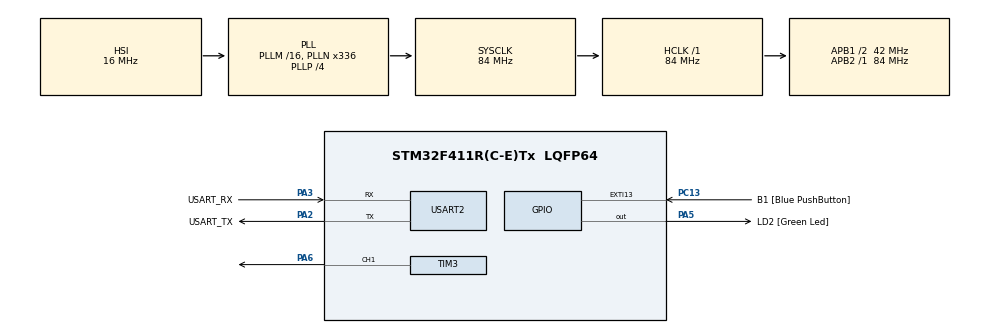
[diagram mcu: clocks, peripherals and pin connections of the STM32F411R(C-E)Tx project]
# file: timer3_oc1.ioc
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Mcu.Family=STM32F4
Mcu.Name=STM32F411R(C-E)Tx
Mcu.Package=LQFP64
NVIC.PriorityGroup=NVIC_PRIORITYGROUP_0
NVIC.TIM3_IRQn=true\:0\:0\:false\:false\:true\:true\:true\:true
PA13.GPIO_Label=TMS
PA13.Mode=Serial_Wire
PA13.Signal=SYS_JTMS-SWDIO
PA14.GPIO_Label=TCK
PA14.Mode=Serial_Wire
PA14.Signal=SYS_JTCK-SWCLK
PA2.GPIO_Label=USART_TX
PA2.Mode=Asynchronous
PA2.Signal=USART2_TX
PA3.GPIO_Label=USART_RX
PA3.Mode=Asynchronous
PA3.Signal=USART2_RX
PA5.GPIO_Label=LD2 [Green Led]
PA5.Signal=GPIO_Output
PA6.Signal=S_TIM3_CH1
PB3.GPIO_Label=SWO
PB3.Signal=SYS_JTDO-SWO
PC13-ANTI_TAMP.GPIO_Label=B1 [Blue PushButton]
PC13-ANTI_TAMP.GPIO_ModeDefaultEXTI=GPIO_MODE_IT_FALLING
PC13-ANTI_TAMP.Signal=GPXTI13
PC14-OSC32_IN.Signal=RCC_OSC32_IN
PC15-OSC32_OUT.Signal=RCC_OSC32_OUT
PH0\ -\ OSC_IN.Signal=RCC_OSC_IN
PH1\ -\ OSC_OUT.Signal=RCC_OSC_OUT
ProjectManager.HeapSize=0x200
ProjectManager.StackSize=0x400
ProjectManager.TargetToolchain=STM32CubeIDE
RCC.48MHZClocksFreq_Value=84000000
RCC.AHBFreq_Value=84000000
RCC.APB1CLKDivider=RCC_HCLK_DIV2
RCC.APB1Freq_Value=42000000
RCC.APB1TimFreq_Value=84000000
RCC.APB2Freq_Value=84000000
RCC.APB2TimFreq_Value=84000000
RCC.CortexFreq_Value=84000000
RCC.FLatency-AdvancedSettings=FLASH_LATENCY_2
RCC.HCLKFreq_Value=84000000
RCC.HSE_VALUE=8000000
RCC.HSI_VALUE=16000000
RCC.LSE_VALUE=32768
RCC.PLLN=336
RCC.PLLP=RCC_PLLP_DIV4
RCC.SYSCLKFreq_VALUE=84000000
RCC.SYSCLKSource=RCC_SYSCLKSOURCE_PLLCLK
RCC.VCOOutputFreq_Value=336000000
SH.S_TIM3_CH1.0=TIM3_CH1,Output Compare1 CH1
TIM3.AutoReloadPreload=TIM_AUTORELOAD_PRELOAD_ENABLE
TIM3.Channel-Output\ Compare1\ CH1=TIM_CHANNEL_1
TIM3.OCMode_1=TIM_OCMODE_TOGGLE
TIM3.Period=10000-1
TIM3.Prescaler=8400-1
TIM3.Pulse-Output\ Compare1\ CH1=5000-1
USART2.VirtualMode=VM_ASYNC
VP_TIM3_VS_ClockSourceINT.Mode=Internal
board=NUCLEO-F411RE

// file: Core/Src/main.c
/* USER CODE BEGIN Header */
/**
  ******************************************************************************
  * @file           : main.c
  * @brief          : Main program body
  ******************************************************************************
  * @attention
  *
  * Copyright (c) 2025 STMicroelectronics.
  * All rights reserved.
  *
  * This software is licensed under terms that can be found in the LICENSE file
  * in the root directory of this software component.
  * If no LICENSE file comes with this software, it is provided AS-IS.
  *
  ******************************************************************************
  */
/* USER CODE END Header */
#include "main.h"

/* USER CODE BEGIN PD */
#ifdef __GNUC__
/* With GCC, small printf (option LD Linker->Libraries->Small printf
   set to 'Yes') calls __io_putchar() */
#define PUTCHAR_PROTOTYPE int __io_putchar(int ch)
#else
#define PUTCHAR_PROTOTYPE int fputc(int ch, FILE *f)
#endif /* __GNUC__ */
/* USER CODE END PD */

TIM_HandleTypeDef htim3;

UART_HandleTypeDef huart2;

/* USER CODE BEGIN PV */
volatile unsigned int time3SecCnt = 0;
volatile int time3SecFlag = 0;
volatile unsigned int time3Cnt = 0;
/* USER CODE END PV */

void SystemClock_Config(void);
static void MX_GPIO_Init(void);
static void MX_USART2_UART_Init(void);
static void MX_TIM3_Init(void);

int main(void)
{

  /* MCU Configuration--------------------------------------------------------*/

  /* Reset of all peripherals, Initializes the Flash interface and the Systick. */
  HAL_Init();

  /* Configure the system clock */
  SystemClock_Config();

  /* Initialize all configured peripherals */
  MX_GPIO_Init();
  MX_USART2_UART_Init();
  MX_TIM3_Init();
  /* USER CODE BEGIN 2 */
  printf("start main()!\r\n");
  if(HAL_TIM_Base_Start_IT(&htim3) != HAL_OK)
	  Error_Handler();
  if(HAL_TIM_OC_Start_IT(&htim3, TIM_CHANNEL_1) != HAL_OK)
	  Error_Handler();
  /* USER CODE END 2 */

  /* Infinite loop */
  /* USER CODE BEGIN WHILE */
  while (1)
  {
	  if(time3SecFlag)
	  {
		  time3SecFlag = 0;
		  printf("time3SecCnt : %d\r\n", time3SecCnt);
	  }
    /* USER CODE END WHILE */

  }
}

void SystemClock_Config(void)
{
  RCC_OscInitTypeDef RCC_OscInitStruct = {0};
  RCC_ClkInitTypeDef RCC_ClkInitStruct = {0};

  /** Configure the main internal regulator output voltage
  */
  __HAL_RCC_PWR_CLK_ENABLE();
  __HAL_PWR_VOLTAGESCALING_CONFIG(PWR_REGULATOR_VOLTAGE_SCALE1);

  /** Initializes the RCC Oscillators according to the specified parameters
  * in the RCC_OscInitTypeDef structure.
  */
  RCC_OscInitStruct.OscillatorType = RCC_OSCILLATORTYPE_HSI;
  RCC_OscInitStruct.HSIState = RCC_HSI_ON;
  RCC_OscInitStruct.HSICalibrationValue = RCC_HSICALIBRATION_DEFAULT;
  RCC_OscInitStruct.PLL.PLLState = RCC_PLL_ON;
  RCC_OscInitStruct.PLL.PLLSource = RCC_PLLSOURCE_HSI;
  RCC_OscInitStruct.PLL.PLLM = 16;
  RCC_OscInitStruct.PLL.PLLN = 336;
  RCC_OscInitStruct.PLL.PLLP = RCC_PLLP_DIV4;
  RCC_OscInitStruct.PLL.PLLQ = 4;
  if (HAL_RCC_OscConfig(&RCC_OscInitStruct) != HAL_OK)
  {
    Error_Handler();
  }

  /** Initializes the CPU, AHB and APB buses clocks
  */
  RCC_ClkInitStruct.ClockType = RCC_CLOCKTYPE_HCLK|RCC_CLOCKTYPE_SYSCLK
                              |RCC_CLOCKTYPE_PCLK1|RCC_CLOCKTYPE_PCLK2;
  RCC_ClkInitStruct.SYSCLKSource = RCC_SYSCLKSOURCE_PLLCLK;
  RCC_ClkInitStruct.AHBCLKDivider = RCC_SYSCLK_DIV1;
  RCC_ClkInitStruct.APB1CLKDivider = RCC_HCLK_DIV2;
  RCC_ClkInitStruct.APB2CLKDivider = RCC_HCLK_DIV1;

  if (HAL_RCC_ClockConfig(&RCC_ClkInitStruct, FLASH_LATENCY_2) != HAL_OK)
  {
    Error_Handler();
  }
}

static void MX_TIM3_Init(void)
{

  TIM_ClockConfigTypeDef sClockSourceConfig = {0};
  TIM_MasterConfigTypeDef sMasterConfig = {0};
  TIM_OC_InitTypeDef sConfigOC = {0};

  htim3.Instance = TIM3;
  htim3.Init.Prescaler = 8400-1;
  htim3.Init.CounterMode = TIM_COUNTERMODE_UP;
  htim3.Init.Period = 10000-1;
  htim3.Init.ClockDivision = TIM_CLOCKDIVISION_DIV1;
  htim3.Init.AutoReloadPreload = TIM_AUTORELOAD_PRELOAD_ENABLE;
  if (HAL_TIM_Base_Init(&htim3) != HAL_OK)
  {
    Error_Handler();
  }
  sClockSourceConfig.ClockSource = TIM_CLOCKSOURCE_INTERNAL;
  if (HAL_TIM_ConfigClockSource(&htim3, &sClockSourceConfig) != HAL_OK)
  {
    Error_Handler();
  }
  if (HAL_TIM_OC_Init(&htim3) != HAL_OK)
  {
    Error_Handler();
  }
  sMasterConfig.MasterOutputTrigger = TIM_TRGO_RESET;
  sMasterConfig.MasterSlaveMode = TIM_MASTERSLAVEMODE_DISABLE;
  if (HAL_TIMEx_MasterConfigSynchronization(&htim3, &sMasterConfig) != HAL_OK)
  {
    Error_Handler();
  }
  sConfigOC.OCMode = TIM_OCMODE_TOGGLE;
  sConfigOC.Pulse = 5000-1;
  sConfigOC.OCPolarity = TIM_OCPOLARITY_HIGH;
  sConfigOC.OCFastMode = TIM_OCFAST_DISABLE;
  if (HAL_TIM_OC_ConfigChannel(&htim3, &sConfigOC, TIM_CHANNEL_1) != HAL_OK)
  {
    Error_Handler();
  }
  HAL_TIM_MspPostInit(&htim3);

}

static void MX_USART2_UART_Init(void)
{

  huart2.Instance = USART2;
  huart2.Init.BaudRate = 115200;
  huart2.Init.WordLength = UART_WORDLENGTH_8B;
  huart2.Init.StopBits = UART_STOPBITS_1;
  huart2.Init.Parity = UART_PARITY_NONE;
  huart2.Init.Mode = UART_MODE_TX_RX;
  huart2.Init.HwFlowCtl = UART_HWCONTROL_NONE;
  huart2.Init.OverSampling = UART_OVERSAMPLING_16;
  if (HAL_UART_Init(&huart2) != HAL_OK)
  {
    Error_Handler();
  }

}

static void MX_GPIO_Init(void)
{
  GPIO_InitTypeDef GPIO_InitStruct = {0};

  /* GPIO Ports Clock Enable */
  __HAL_RCC_GPIOC_CLK_ENABLE();
  __HAL_RCC_GPIOH_CLK_ENABLE();
  __HAL_RCC_GPIOA_CLK_ENABLE();
  __HAL_RCC_GPIOB_CLK_ENABLE();

  /*Configure GPIO pin Output Level */
  HAL_GPIO_WritePin(LD2_GPIO_Port, LD2_Pin, GPIO_PIN_RESET);

  /*Configure GPIO pin : B1_Pin */
  GPIO_InitStruct.Pin = B1_Pin;
  GPIO_InitStruct.Mode = GPIO_MODE_IT_FALLING;
  GPIO_InitStruct.Pull = GPIO_NOPULL;
  HAL_GPIO_Init(B1_GPIO_Port, &GPIO_InitStruct);

  /*Configure GPIO pin : LD2_Pin */
  GPIO_InitStruct.Pin = LD2_Pin;
  GPIO_InitStruct.Mode = GPIO_MODE_OUTPUT_PP;
  GPIO_InitStruct.Pull = GPIO_NOPULL;
  GPIO_InitStruct.Speed = GPIO_SPEED_FREQ_LOW;
  HAL_GPIO_Init(LD2_GPIO_Port, &GPIO_InitStruct);

}

/* USER CODE BEGIN 4 */
void HAL_TIM_PeriodElapsedCallback(TIM_HandleTypeDef * htim)
{
	if(htim -> Instance == TIM3) // timer3
	{
		//HAL_GPIO_TogglePin(LD2_GPIO_Port, LD2_Pin);
		time3SecFlag = 1;
		time3SecCnt++;
	}
}
void HAL_TIM_OC_DelayElapsedCallback(TIM_HandleTypeDef *htim)
{
	if(htim -> Instance == TIM3) // timer3
	{
		HAL_GPIO_TogglePin(LD2_GPIO_Port, LD2_Pin);
	}
}
PUTCHAR_PROTOTYPE
{
  /* Place your implementation of fputc here */
  /* e.g. write a character to the USART6 and Loop until the end of transmission */
  HAL_UART_Transmit(&huart2, (uint8_t *)&ch, 1, 0xFFFF);

  return ch;
}
/* USER CODE END 4 */

void Error_Handler(void)
{
  __disable_irq();
  while (1)
  {
  }
}
